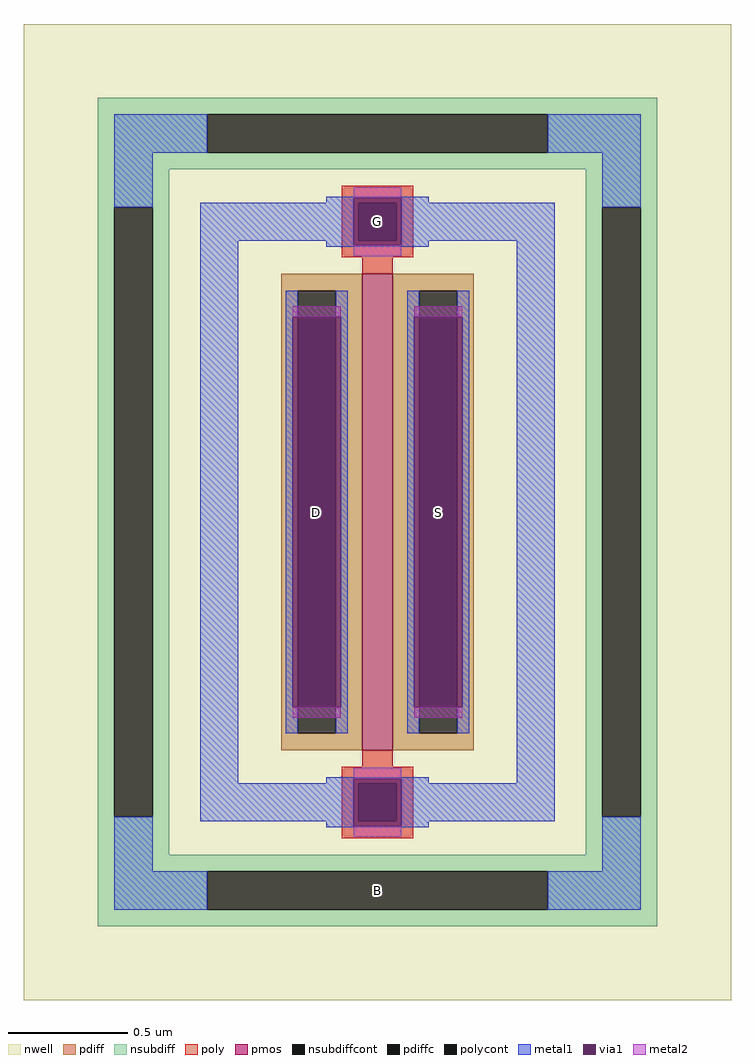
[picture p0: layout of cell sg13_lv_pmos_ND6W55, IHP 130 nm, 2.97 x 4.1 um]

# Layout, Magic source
magic
tech ihp-sg13g2
magscale 1 2
<< nwell >>
rect -297 -410 297 410
<< pmos >>
rect -13 -200 13 200
<< pdiff >>
rect -81 186 -13 200
rect -81 -186 -67 186
rect -35 -186 -13 186
rect -81 -200 -13 -186
rect 13 186 81 200
rect 13 -186 35 186
rect 67 -186 81 186
rect 13 -200 81 -186
<< pdiffc >>
rect -67 -186 -35 186
rect 35 -186 67 186
<< nsubdiff >>
rect -235 334 235 348
rect -235 302 -143 334
rect 143 302 235 334
rect -235 288 235 302
rect -235 256 -175 288
rect -235 -256 -221 256
rect -189 -256 -175 256
rect 175 256 235 288
rect -235 -288 -175 -256
rect 175 -256 189 256
rect 221 -256 235 256
rect 175 -288 235 -256
rect -235 -302 235 -288
rect -235 -334 -143 -302
rect 143 -334 235 -302
rect -235 -348 235 -334
<< nsubdiffcont >>
rect -143 302 143 334
rect -221 -256 -189 256
rect 189 -256 221 256
rect -143 -334 143 -302
<< poly >>
rect -30 260 30 274
rect -30 228 -16 260
rect 16 228 30 260
rect -30 214 30 228
rect -13 200 13 214
rect -13 -214 13 -200
rect -30 -228 30 -214
rect -30 -260 -16 -228
rect 16 -260 30 -228
rect -30 -274 30 -260
<< polycont >>
rect -16 228 16 260
rect -16 -260 16 -228
<< metal1 >>
rect -221 302 -143 334
rect 143 302 221 334
rect -221 256 -189 302
rect -43 264 43 265
rect -43 260 -20 264
rect 20 260 43 264
rect -221 -302 -189 -256
rect -149 228 -20 260
rect 20 228 149 260
rect -149 -228 -117 228
rect -43 224 -20 228
rect 20 224 43 228
rect -43 223 43 224
rect -77 164 -67 186
rect -35 164 -25 186
rect -77 -164 -71 164
rect -31 -164 -25 164
rect -77 -186 -67 -164
rect -35 -186 -25 -164
rect 25 164 35 186
rect 67 164 77 186
rect 25 -164 31 164
rect 71 -164 77 164
rect 25 -186 35 -164
rect 67 -186 77 -164
rect -43 -224 43 -223
rect -43 -228 -20 -224
rect 20 -228 43 -224
rect 117 -228 149 228
rect -149 -260 -20 -228
rect 20 -260 149 -228
rect 189 256 221 302
rect -43 -264 -20 -260
rect 20 -264 43 -260
rect -43 -265 43 -264
rect 189 -302 221 -256
rect -221 -334 -143 -302
rect 143 -334 221 -302
<< via1 >>
rect -20 260 20 264
rect -20 228 -16 260
rect -16 228 16 260
rect 16 228 20 260
rect -20 224 20 228
rect -71 -164 -67 164
rect -67 -164 -35 164
rect -35 -164 -31 164
rect 31 -164 35 164
rect 35 -164 67 164
rect 67 -164 71 164
rect -20 -228 20 -224
rect -20 -260 -16 -228
rect -16 -260 16 -228
rect 16 -260 20 -228
rect -20 -264 20 -260
<< metal2 >>
rect -20 264 20 273
rect -20 215 20 224
rect -71 164 -31 173
rect -71 -173 -31 -164
rect 31 164 71 173
rect 31 -173 71 -164
rect -20 -224 20 -215
rect -20 -273 20 -264
<< labels >>
rlabel nsubdiffcont 0 -318 0 -318 0 B
port 1 nsew
rlabel pdiffc -51 0 -51 0 0 D
port 2 nsew
rlabel pdiffc 51 0 51 0 0 S
port 3 nsew
rlabel polycont 0 244 0 244 0 G
port 4 nsew
<< properties >>
string FIXED_BBOX -205 -318 205 318
string gencell sg13_lv_pmos
string library sg13g2
string parameters w 2 l 0.13 m 1 nf 1 diffcov 100 polycov 100 guard 1 glc 1 grc 1 gtc 1 gbc 1 tbcov 100 rlcov 100 topc 0 botc 0 poverlap 0 doverlap 1 lmin 0.13 wmin 0.15 class mosfet compatible {sg13_lv_pmos sg13_hv_pmos} full_metal 1 conn_gates 0 gate_ring 1 ccols 1 viasrc 100 viadrn 100 viagate 100 viagb 0 viagr 0 viagl 0 viagt 0 doports 1
<< end >>
